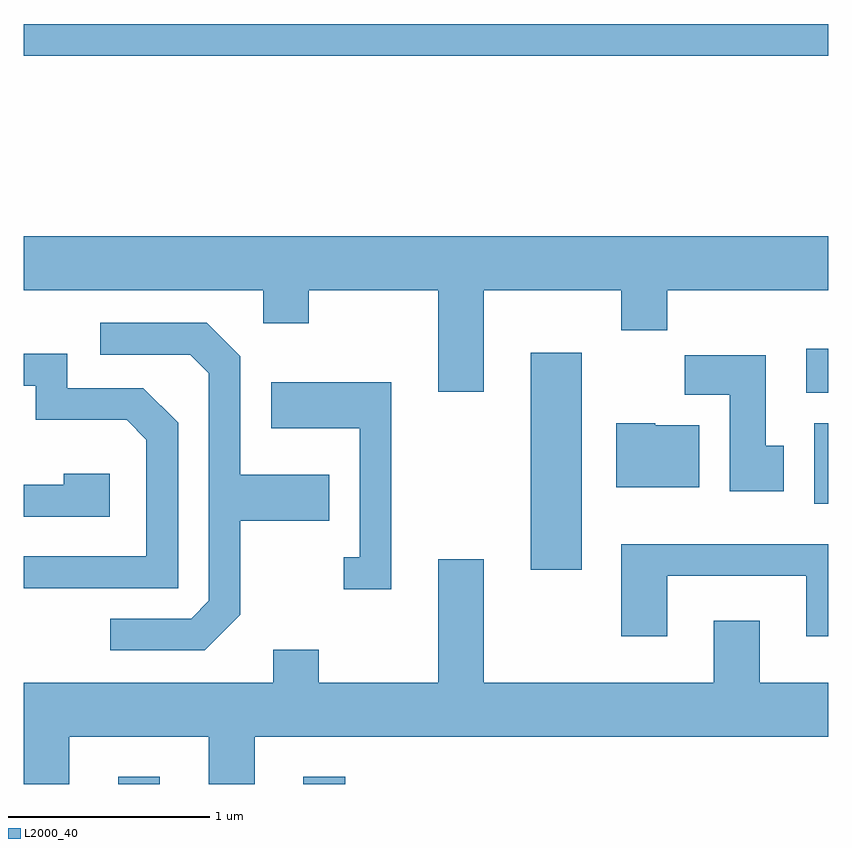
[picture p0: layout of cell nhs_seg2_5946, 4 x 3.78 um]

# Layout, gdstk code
import gdstk
lib = gdstk.Library(unit=1e-6, precision=1e-09)
def R(c, l, rs):  # rectangles x0, y0, x1, y1
    for r in rs: c.add(gdstk.rectangle(r[:2], r[2:], *l))
def P(c, l, *ps):  # polygons
    for p in ps: c.add(gdstk.Polygon(p, *l))
L2000_40 = (2000, 40)

nhs_seg2_5946 = lib.new_cell('nhs_seg2_5946')
R(nhs_seg2_5946, L2000_40, [(360.081,1105.802,360.289,1105.839), (361.001,1105.802,361.209,1105.839), (362.131,1106.866,362.384,1107.944), (363.541,1107.196,363.611,1107.594), (363.501,1107.746,363.611,1107.964), (359.611,1109.421,363.611,1109.579)])
P(nhs_seg2_5946, L2000_40, [(361.899,1108.256),(362.581,1108.256),(362.581,1108.056),(362.809,1108.056),(362.809,1108.256),(363.611,1108.256),(363.611,1108.524),(359.611,1108.524),(359.611,1108.256),(360.801,1108.256),(360.801,1108.091),(361.029,1108.091),(361.029,1108.256),(361.671,1108.256),(361.671,1107.751),(361.899,1107.751)],
  [(360.689,1106.644),(360.689,1107.111),(361.129,1107.111),(361.129,1107.339),(360.689,1107.339),(360.689,1107.927),(360.522,1108.094),(359.993,1108.094),(359.993,1107.936),(360.439,1107.936),(360.531,1107.844),(360.531,1106.712),(360.444,1106.624),(360.043,1106.624),(360.043,1106.466),(360.512,1106.466)],
  [(360.379,1107.597),(360.207,1107.769),(359.829,1107.769),(359.829,1107.939),(359.611,1107.939),(359.611,1107.781),(359.671,1107.781),(359.671,1107.611),(360.124,1107.611),(360.221,1107.514),(360.221,1106.934),(359.611,1106.934),(359.611,1106.776),(360.379,1106.776)],
  [(363.389,1107.484),(363.299,1107.484),(363.299,1107.934),(362.896,1107.934),(362.896,1107.736),(363.121,1107.736),(363.121,1107.256),(363.389,1107.256)],
  [(361.439,1107.799),(360.841,1107.799),(360.841,1107.571),(361.281,1107.571),(361.281,1106.929),(361.203,1106.929),(361.203,1106.771),(361.439,1106.771)],
  [(362.969,1107.584),(362.75,1107.584),(362.75,1107.594),(362.556,1107.594),(362.556,1107.276),(362.969,1107.276)],
  [(360.039,1107.344),(359.811,1107.344),(359.811,1107.289),(359.611,1107.289),(359.611,1107.131),(360.039,1107.131)],
  [(362.809,1106.836),(363.501,1106.836),(363.501,1106.536),(363.611,1106.536),(363.611,1106.994),(362.581,1106.994),(362.581,1106.536),(362.809,1106.536)],
  [(359.839,1106.036),(360.531,1106.036),(360.531,1105.802),(360.759,1105.802),(360.759,1106.036),(363.611,1106.036),(363.611,1106.304),(363.269,1106.304),(363.269,1106.614),(363.041,1106.614),(363.041,1106.304),(361.899,1106.304),(361.899,1106.919),(361.671,1106.919),(361.671,1106.304),(361.079,1106.304),(361.079,1106.469),(360.851,1106.469),(360.851,1106.304),(359.611,1106.304),(359.611,1105.802),(359.839,1105.802)])

lib.write_gds('nhs_seg2_5946.gds')
